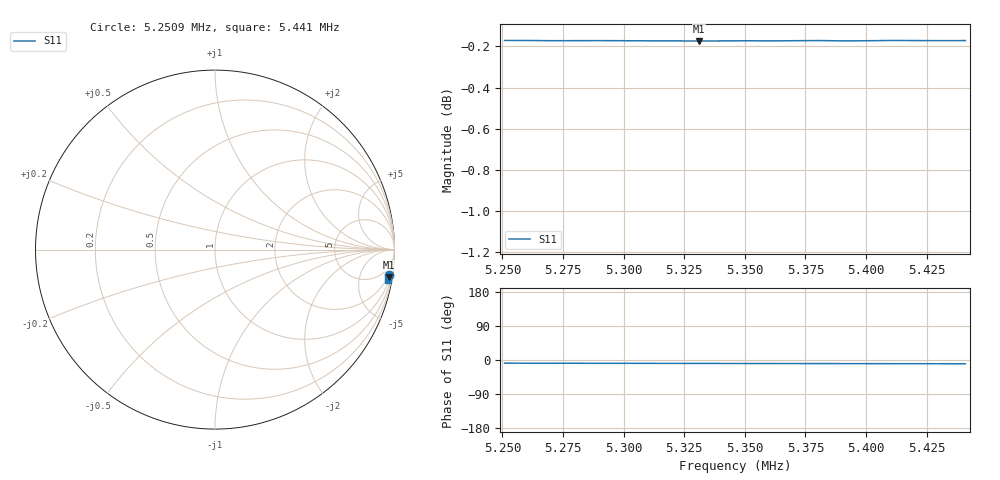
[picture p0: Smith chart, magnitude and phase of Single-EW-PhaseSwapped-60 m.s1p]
# HZ S RI R 50
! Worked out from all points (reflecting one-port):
!   20 points, 5.2509 MHz to 5.441 MHz, reference 50 ohm
!   lowest |S11| = -0.2 dB at 5.3309 MHz (marker M1), VSWR 100.02, Z = 79.4 - j623 ohm
!   phase of S11 starts at -8 deg and turns -2 deg over the sweep
5250900  0.97 -0.143
5260904  0.9698 -0.1445
5270908  0.9695 -0.1458
5280912  0.9693 -0.1471
5290916  0.9691 -0.1485
5300920  0.9689 -0.1499
5310924  0.9686 -0.1512
5320928  0.9684 -0.1525
5330932  0.968 -0.1539
5340936  0.9679 -0.1554
5350940  0.9678 -0.1566
5360944  0.9675 -0.1579
5370948  0.9673 -0.1595
5380952  0.9672 -0.1607
5390956  0.9668 -0.162
5400960  0.9667 -0.1635
5410964  0.9666 -0.1648
5420968  0.9663 -0.1661
5430972  0.966 -0.1674
5440976  0.9658 -0.1689
